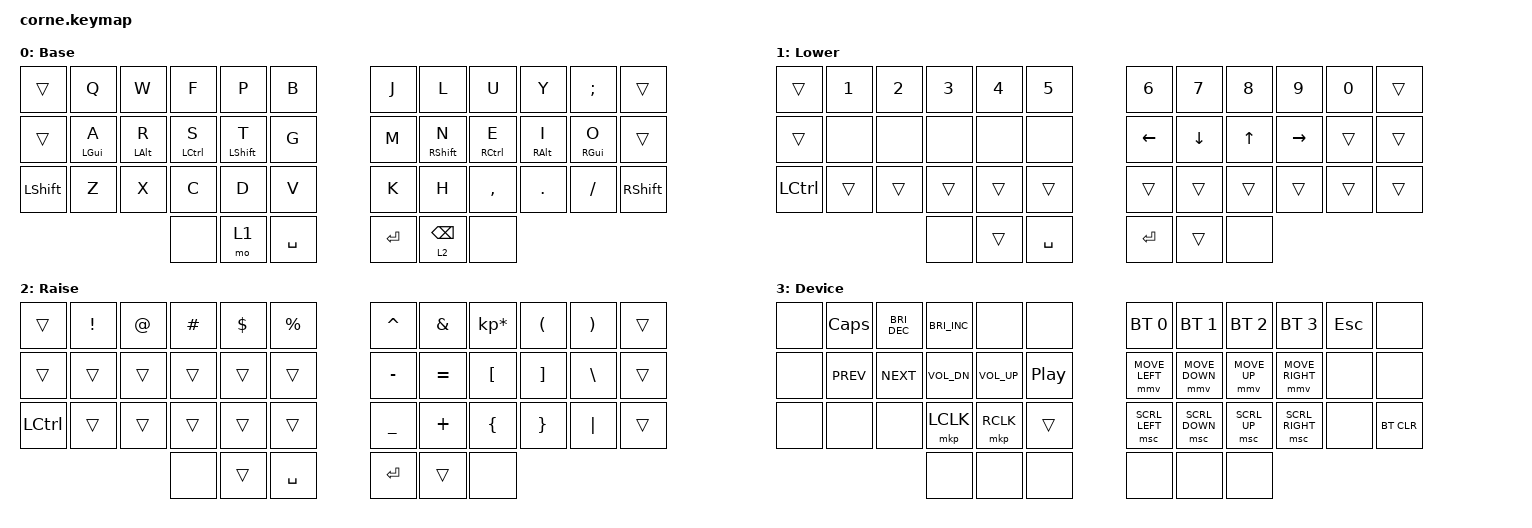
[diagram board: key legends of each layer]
/*
 * Copyright (c) 2020 The ZMK Contributors
 *
 * SPDX-License-Identifier: MIT
 */

#define ZMK_POINTING_DEFAULT_MOVE_VAL 1500  // default: 600
#define ZMK_POINTING_DEFAULT_SCRL_VAL 20    // default: 10

#include <behaviors.dtsi>
#include <dt-bindings/zmk/bt.h>
#include <dt-bindings/zmk/keys.h>
#include <dt-bindings/zmk/pointing.h>

/ {
    combos {
        compatible = "zmk,combos";

        combo_sqt {
            timeout-ms = <50>;
            key-positions = <32 33>;
            bindings = <&kp SQT>;
        };

        combo_grave {
            timeout-ms = <50>;
            key-positions = <8 9>;
            bindings = <&kp GRAVE>;
        };

        combo_tab {
            timeout-ms = <50>;
            key-positions = <1 2>;
            bindings = <&kp TAB>;
        };

        combo_delete {
            timeout-ms = <50>;
            key-positions = <9 10>;
            bindings = <&kp DELETE>;
        };
    };

    behaviors {
        HMR: HMR {
            compatible = "zmk,behavior-hold-tap";
            label = "HMR";
            bindings = <&kp>, <&kp>;

            #binding-cells = <2>;
            tapping-term-ms = <220>;
            quick-tap-ms = <125>;
            require-prior-idle-ms = <90>;
            flavor = "balanced";
            hold-trigger-on-release;
            hold-trigger-key-positions = <0 1 2 3 4 5 12 13 14 15 16 17 24 25 26 27 28 29 36 37 38>;
        };

        HML: HML {
            compatible = "zmk,behavior-hold-tap";
            label = "HML";
            bindings = <&kp>, <&kp>;

            #binding-cells = <2>;
            tapping-term-ms = <220>;
            quick-tap-ms = <125>;
            require-prior-idle-ms = <90>;
            flavor = "balanced";
            hold-trigger-on-release;
            hold-trigger-key-positions = <6 7 8 9 10 11 18 19 20 21 22 23 30 31 32 33 34 35 39 40 41>;
        };

        HMShiftR: HMShiftR {
            compatible = "zmk,behavior-hold-tap";
            label = "HMSR";
            bindings = <&kp>, <&kp>;

            #binding-cells = <2>;
            tapping-term-ms = <190>;
            quick-tap-ms = <100>;
            require-prior-idle-ms = <60>;
            flavor = "balanced";
            hold-trigger-on-release;
            hold-trigger-key-positions = <0 1 2 3 4 5 12 13 14 15 16 17 24 25 26 27 28 29 36 37 38>;
        };

        HMShiftL: HMShiftL {
            compatible = "zmk,behavior-hold-tap";
            label = "HMSL";
            bindings = <&kp>, <&kp>;

            #binding-cells = <2>;
            tapping-term-ms = <190>;
            quick-tap-ms = <100>;
            require-prior-idle-ms = <60>;
            flavor = "balanced";
            hold-trigger-on-release;
            hold-trigger-key-positions = <6 7 8 9 10 11 18 19 20 21 22 23 30 31 32 33 34 35 39 40 41>;
        };

        CustomLT: CustomLT {
            compatible = "zmk,behavior-hold-tap";
            label = "CUSTOMLT";
            bindings = <&mo>, <&kp>;

            #binding-cells = <2>;
            tapping-term-ms = <150>;
            flavor = "tap-preferred";
            quick-tap-ms = <75>;
            hold-while-undecided;
            hold-trigger-on-release;
        };
    };

    keymap {
        compatible = "zmk,keymap";

        default_layer {
            // -----------------------------------------------------------------------------------------
            // |      |  Q  |  W  |    F    |    P    |  B  |   |  J  |    L    |    U    |  Y  |  ;  |      |
            // |      |GUI/A|ALT/R|CTRL/S   |SHFT/T   |  G  |   |  M  |SHFT/N   |CTRL/E   |ALT/I|GUI/O|      |
            // | SHFT |  Z  |  X  |    C    |    D    |  V  |   |  K  |    H    |    ,    |  .  |  /  | SHFT |
            //                    |         |   LWR   | SPC |   | ENT | RSE/BSPC|         |

            display-name = "Base";
            bindings = <
&trans          &kp Q        &kp W        &kp F         &kp P         &kp B        &kp J    &kp L             &kp U         &kp Y        &kp SEMICOLON  &trans
&trans          &HML LGUI A  &HML LALT R  &HML LCTRL S  &HMShiftL LSHFT T  &kp G        &kp M    &HMShiftR RSHFT N      &HMR RCTRL E  &HMR RALT I  &HMR RGUI O    &trans
&kp LEFT_SHIFT  &kp Z        &kp X        &kp C         &kp D         &kp V        &kp K    &kp H             &kp COMMA     &kp DOT      &kp FSLH       &kp RIGHT_SHIFT
                                          &none         &mo 1         &kp SPACE    &kp RET  &CustomLT 2 BSPC  &none
            >;
        };

        lower_layer {
            // -----------------------------------------------------------------------------------------
            // |      |  1  |  2  |  3  |  4  |  5  |   |  6  |  7  |  8  |  9  |  0  |      |
            // |      | PREV| NEXT| VOLDN| VOLUP| PLAY|   | LFT | DWN |  UP | RGT |     |      |
            // | CTRL |     |     |     |     |     |   |     |     |     |     |     |      |
            //                    |     |     | SPC |   | ENT |     |     |

            display-name = "Lower";
            bindings = <
&trans     &kp N1  &kp N2  &kp N3    &kp N4  &kp N5       &kp N6    &kp N7    &kp N8    &kp N9     &kp N0  &trans
&trans     &none   &none   &none     &none   &none        &kp LEFT  &kp DOWN  &kp UP    &kp RIGHT  &trans  &trans
&kp LCTRL  &trans  &trans  &trans    &trans  &trans       &trans    &trans    &trans    &trans     &trans  &trans
                           &none     &trans  &kp SPACE    &kp RET   &trans    &none
            >;
        };

        raise_layer {
            // -----------------------------------------------------------------------------------------
            // |      |  !  |  @  |  #  |  $  |  %  |   |  ^  |  &  |  *  |  (  |  )  |      |
            // |      | CAPS|     |     |     |     |   |  -  |  =  |  [  |  ]  |  \  |      |
            // | CTRL |     |     |     |     |     |   |  _  |  +  |  {  |  }  |  |  |      |
            //                    |     |     | SPC |   | ENT |     |     |

            display-name = "Raise";
            bindings = <
&trans     &kp EXCL  &kp AT  &kp HASH              &kp DLLR  &kp PRCNT    &kp CARET  &kp AMPS   &kp KP_MULTIPLY  &kp LPAR  &kp RPAR  &trans
&trans     &trans    &trans  &trans                &trans    &trans       &kp MINUS  &kp EQUAL  &kp LBKT         &kp RBKT  &kp BSLH  &trans
&kp LCTRL  &trans    &trans  &trans                &trans    &trans       &kp UNDER  &kp PLUS   &kp LBRC         &kp RBRC  &kp PIPE  &trans
                             &none                 &trans    &kp SPACE    &kp RET    &trans     &none
            >;
        };

        device {
            // -----------------------------------------------------------------------------------------
            // |      | CAPS|BRTDN|BRTUP|     |     |   | BT0 | BT1 | BT2 | BT3 | ESC |      |
            // |      | PREV| NEXT|VOLDN|VOLUP|PLAY |   |MS_L |MS_DN|MS_UP|MS_R |     |      |
            // |      |     |     |LCLK |RCLK |     |   |SC_L |SC_DN|SC_UP|SC_R |     |BTCLR |
            //                    |     |     |     |   |     |     |     |

            display-name = "Device";
            bindings = <
&none  &kp CAPSLOCK  &kp C_BRIGHTNESS_DEC  &kp C_BRIGHTNESS_INC  &none         &none       &bt BT_SEL 0    &bt BT_SEL 1    &bt BT_SEL 2  &bt BT_SEL 3     &kp ESC  &none
&none  &kp C_PREV    &kp C_NEXT            &kp C_VOL_DN          &kp C_VOL_UP  &kp C_PP    &mmv MOVE_LEFT  &mmv MOVE_DOWN  &mmv MOVE_UP  &mmv MOVE_RIGHT  &none    &none
&none  &none         &none                 &mkp LCLK             &mkp RCLK     &trans      &msc SCRL_LEFT  &msc SCRL_DOWN  &msc SCRL_UP  &msc SCRL_RIGHT  &none    &bt BT_CLR
                                           &none                 &none         &none       &none           &none           &none
            >;
        };

        extra_1 { status = "reserved"; };

        extra_2 { status = "reserved"; };

        extra_3 { status = "reserved"; };
    };

    conditional_layers {
        compatible = "zmk,conditional-layers";

        device {
            if-layers = <1 2>;
            then-layer = <3>;
        };
    };
};
